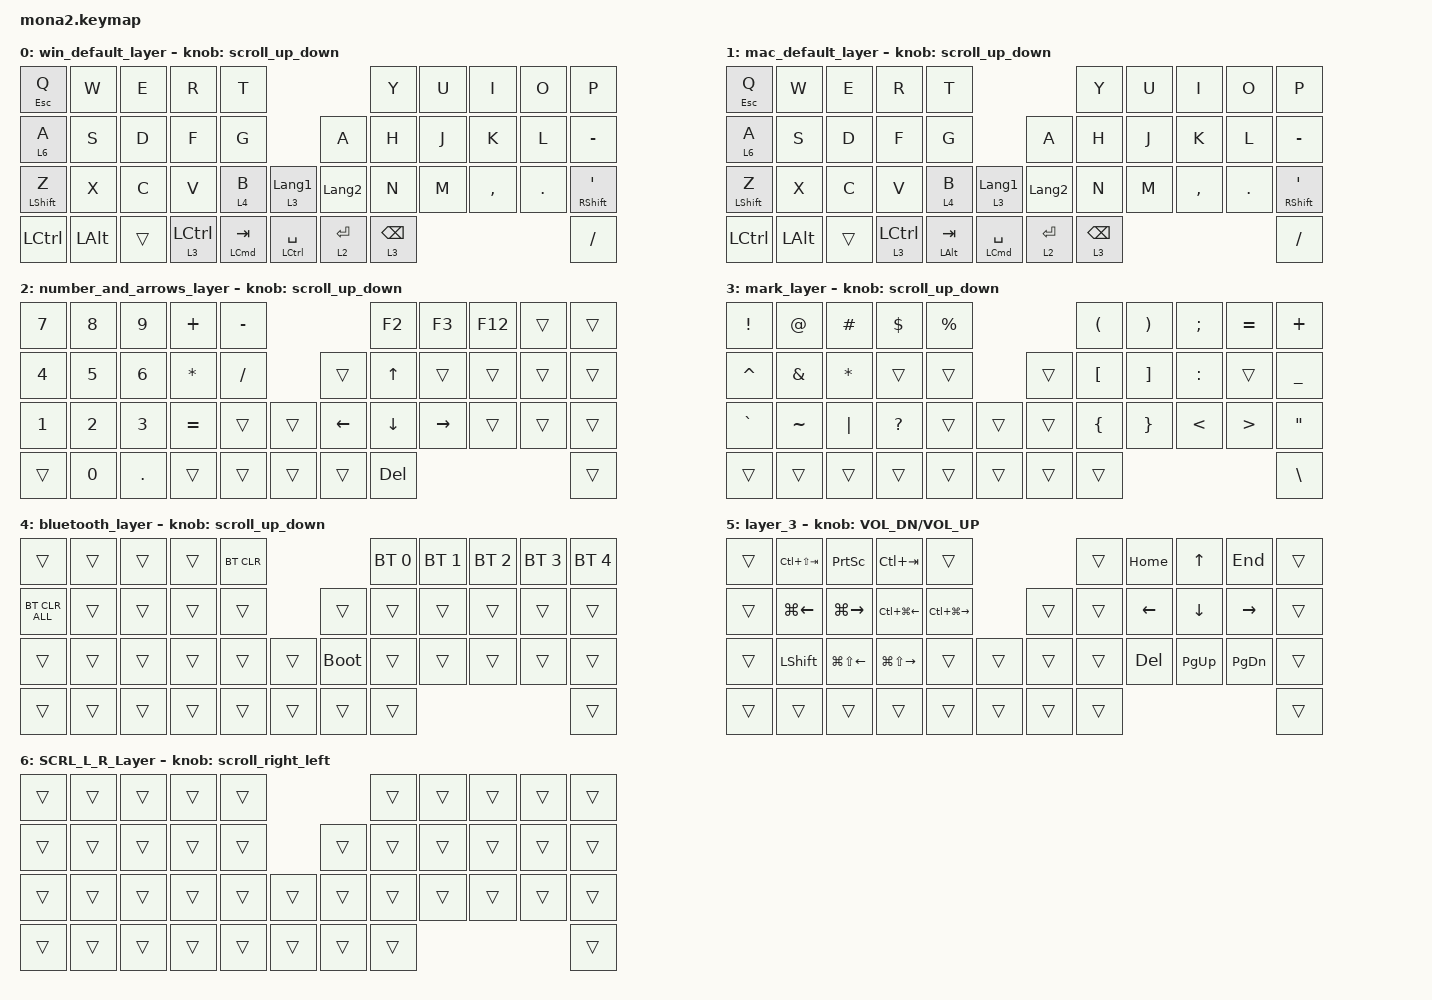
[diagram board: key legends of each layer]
#include <input/processors.dtsi>
#include <dt-bindings/zmk/input_transform.h>
#include <zephyr/dt-bindings/input/input-event-codes.h>
#include <behaviors.dtsi>
#include <dt-bindings/zmk/bt.h>
#include <dt-bindings/zmk/keys.h>
#include <dt-bindings/zmk/pointing.h>

#define ZMK_POINTING_DEFAULT_SCRL_VAL 100
#define MOUSE 5
#define SCROLL 6

&mt {
    flavor = "balanced";
    quick-tap-ms = <0>;
};

&lt {
    quick-tap-ms = <300>;
    flavor = "balanced";
};

/ {
    combos {
        compatible = "zmk,combos";

        layer4_ESC {
            bindings = <&lt 4 ESC>;
            key-positions = <39 38>;
        };

        win_default {
            bindings = <&to 0>;
            key-positions = <1 9>;
        };

        mac_default {
            bindings = <&to 1>;
            key-positions = <29 9>;
        };

        tab {
            bindings = <&kp TAB>;
            key-positions = <11 12>;
        };

        Left_Click {
            bindings = <&mkp LCLK>;
            key-positions = <18 19>;
        };

        Right_Click {
            bindings = <&mkp RCLK>;
            key-positions = <19 20>;
        };

        Middle_click {
            bindings = <&mkp MCLK>;
            key-positions = <20 18>;
        };

        desktop_left {
            bindings = <&kp LC(LG(LEFT_ARROW))>;
            key-positions = <0 1>;
        };

        desktop_right {
            bindings = <&kp RC(RG(RIGHT_ARROW))>;
            key-positions = <8 9>;
        };
    };

    macros {
        to_layer_0: to_layer_0 {
            compatible = "zmk,behavior-macro-one-param";
            #binding-cells = <1>;
            bindings = <&to 0 &macro_param_1to1 &kp MACRO_PLACEHOLDER>;
            label = "TO_LAYER_0";
        };

        to_layer_1: to_layer_1 {
            compatible = "zmk,behavior-macro-one-param";
            #binding-cells = <1>;
            bindings = <&to 1 &macro_param_1to1 &kp MACRO_PLACEHOLDER>;
            label = "TO_LAYER_1";
        };
    };

    behaviors {
        lt_to_layer_0: lt_to_layer_0 {
            compatible = "zmk,behavior-hold-tap";
            label = "LAYER_TAP_TO_0";
            bindings = <&mo>, <&to_layer_0>;

            #binding-cells = <2>;
            tapping-term-ms = <200>;
        };

        lt_to_layer_1: lt_to_layer_1 {
            compatible = "zmk,behavior-hold-tap";
            label = "LAYER_TAP_TO_1";
            bindings = <&mo>, <&to_layer_1>;

            #binding-cells = <2>;
            tapping-term-ms = <200>;
        };

        scroll_up_down: mouse_wheel_up_down {
            compatible = "zmk,behavior-sensor-rotate";
            #sensor-binding-cells = <0>;
            bindings = <&msc SCRL_DOWN>, <&msc SCRL_UP>;

            tap-ms = <20>;
        };

        scroll_right_left: mouse_wheel_right_left {
            compatible = "zmk,behavior-sensor-rotate";
            #sensor-binding-cells = <0>;
            bindings = <&msc SCRL_LEFT>, <&msc SCRL_RIGHT>;

            tap-ms = <20>;
        };
    };

    keymap {
        compatible = "zmk,keymap";

        win_default_layer {
            bindings = <
&mt ESCAPE Q      &kp W         &kp E   &kp R               &kp T                                                                   &kp Y            &kp U  &kp I      &kp O    &kp P
&lt 6 A           &kp S         &kp D   &kp F               &kp G                                           &kp A                   &kp H            &kp J  &kp K      &kp L    &kp MINUS
&mt LEFT_SHIFT Z  &kp X         &kp C   &kp V               &lt 4 B               &lt 3 LANGUAGE_1          &kp LANGUAGE_2          &kp N            &kp M  &kp COMMA  &kp DOT  &mt RIGHT_SHIFT SINGLE_QUOTE
&kp LCTRL         &kp LEFT_ALT  &trans  &lt 3 LEFT_CONTROL  &mt LEFT_COMMAND TAB  &mt LEFT_CONTROL SPACE    &lt_to_layer_0 2 ENTER  &lt 3 BACKSPACE                             &kp SLASH
            >;

            sensor-bindings = <&scroll_up_down>;
        };

        mac_default_layer {
            bindings = <
&mt ESCAPE Q      &kp W         &kp E   &kp R               &kp T                                                               &kp Y            &kp U  &kp I      &kp O    &kp P
&lt 6 A           &kp S         &kp D   &kp F               &kp G                                       &kp A                   &kp H            &kp J  &kp K      &kp L    &kp MINUS
&mt LEFT_SHIFT Z  &kp X         &kp C   &kp V               &lt 4 B           &lt 3 LANGUAGE_1          &kp LANGUAGE_2          &kp N            &kp M  &kp COMMA  &kp DOT  &mt RIGHT_SHIFT SINGLE_QUOTE
&kp LCTRL         &kp LEFT_ALT  &trans  &lt 3 LEFT_CONTROL  &mt LEFT_ALT TAB  &mt LEFT_COMMAND SPACE    &lt_to_layer_1 2 ENTER  &lt 3 BACKSPACE                             &kp SLASH
            >;

            sensor-bindings = <&scroll_up_down>;
        };

        number_and_arrows_layer {
            bindings = <
&kp NUMBER_7  &kp NUMBER_8  &kp N9        &kp PLUS      &kp MINUS                            &kp F2          &kp F3           &kp F12  &trans  &trans
&kp NUMBER_4  &kp NUMBER_5  &kp NUMBER_6  &kp ASTERISK  &kp SLASH            &trans          &kp UP_ARROW    &trans           &trans   &trans  &trans
&kp NUMBER_1  &kp NUMBER_2  &kp NUMBER_3  &kp EQUAL     &trans     &trans    &kp LEFT_ARROW  &kp DOWN_ARROW  &kp RIGHT_ARROW  &trans   &trans  &trans
&trans        &kp NUMBER_0  &kp PERIOD    &trans        &trans     &trans    &trans          &kp DELETE                                        &trans
            >;

            sensor-bindings = <&scroll_up_down>;
        };

        mark_layer {
            bindings = <
&kp EXCLAMATION  &kp AT_SIGN    &kp POUND     &kp DOLLAR    &kp PERCENT                    &kp LEFT_PARENTHESIS  &kp RIGHT_PARENTHESIS  &kp SEMICOLON  &kp EQUAL         &kp PLUS
&kp CARET        &kp AMPERSAND  &kp ASTERISK  &trans        &trans                 &trans  &kp LEFT_BRACKET      &kp RIGHT_BRACKET      &kp COLON      &trans            &kp UNDERSCORE
&kp GRAVE        &kp TILDE      &kp PIPE      &kp QUESTION  &trans       &trans    &trans  &kp LEFT_BRACE        &kp RIGHT_BRACE        &kp LESS_THAN  &kp GREATER_THAN  &kp DOUBLE_QUOTES
&trans           &trans         &trans        &trans        &trans       &trans    &trans  &trans                                                                        &kp BACKSLASH
            >;

            sensor-bindings = <&scroll_up_down>;
        };

        bluetooth_layer {
            bindings = <
&trans          &trans  &trans  &trans  &bt BT_CLR                         &bt BT_SEL 0  &bt BT_SEL 1  &bt BT_SEL 2  &bt BT_SEL 3  &bt BT_SEL 4
&bt BT_CLR_ALL  &trans  &trans  &trans  &trans                &trans       &trans        &trans        &trans        &trans        &trans
&trans          &trans  &trans  &trans  &trans      &trans    &bootloader  &trans        &trans        &trans        &trans        &trans
&trans          &trans  &trans  &trans  &trans      &trans    &trans       &trans                                                  &trans
            >;

            sensor-bindings = <&scroll_up_down>;
        };

        layer_3 {
            bindings = <
&trans  &kp LC(LS(TAB))     &kp PRINTSCREEN         &kp LC(TAB)              &trans                                     &trans  &kp HOME        &kp UP_ARROW    &kp END          &trans
&trans  &kp LG(LEFT_ARROW)  &kp LG(RIGHT_ARROW)     &kp LC(LG(LEFT_ARROW))   &kp LC(LG(RIGHT_ARROW))            &trans  &trans  &kp LEFT_ARROW  &kp DOWN_ARROW  &kp RIGHT_ARROW  &trans
&trans  &kp LEFT_SHIFT      &kp LG(LS(LEFT_ARROW))  &kp LG(LS(RIGHT_ARROW))  &trans                   &trans    &trans  &trans  &kp DELETE      &kp PAGE_UP     &kp PAGE_DOWN    &trans
&trans  &trans              &trans                  &trans                   &trans                   &trans    &trans  &trans                                                   &trans
            >;

            sensor-bindings = <&inc_dec_kp C_VOL_DN C_VOL_UP>;
        };

        SCRL_L_R_Layer {
            bindings = <
&trans  &trans  &trans  &trans  &trans                    &trans  &trans  &trans  &trans  &trans
&trans  &trans  &trans  &trans  &trans            &trans  &trans  &trans  &trans  &trans  &trans
&trans  &trans  &trans  &trans  &trans  &trans    &trans  &trans  &trans  &trans  &trans  &trans
&trans  &trans  &trans  &trans  &trans  &trans    &trans  &trans                          &trans
            >;

            sensor-bindings = <&scroll_right_left>;
        };
    };
};
